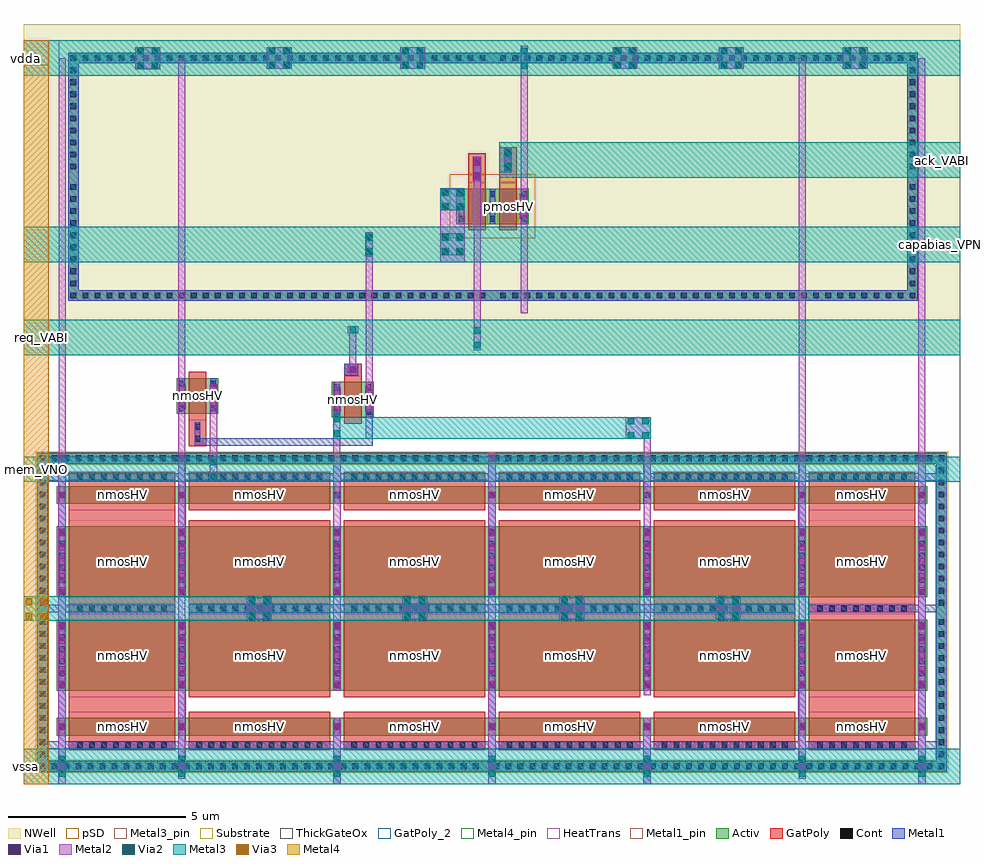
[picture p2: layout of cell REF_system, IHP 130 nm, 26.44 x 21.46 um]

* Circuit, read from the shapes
.subckt REF_system ack_VABI capabias_VPN lk_VPI mem_VNO req_VABI vdda vssa
XM1 vssa vssa vssa vssa sg13_hv_nmos w=0.5u l=3u m=4
XM2 vssa vssa vssa vssa sg13_hv_nmos w=2u l=3u m=4
XM3 vssa vssa vssa vssa sg13_hv_nmos w=0.5u l=4u m=8
XM4 n1 lk_VPI vssa vssa sg13_hv_nmos w=2u l=4u m=8
XM5 mem_VNO capabias_VPN vssa vssa sg13_hv_nmos w=1u l=0.5u
XM6 capabias_VPN req_VABI n1 vssa sg13_hv_nmos w=1u l=0.5u
XM7 n2 req_VABI capabias_VPN vdda sg13_hv_pmos w=1u l=0.5u
XM8 vdda ack_VABI n2 vdda sg13_hv_pmos w=1u l=0.5u
.ends

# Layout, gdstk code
import gdstk
lib = gdstk.Library(unit=1e-6, precision=1e-09)
def R(c, l, rs):  # rectangles x0, y0, x1, y1
    for r in rs: c.add(gdstk.rectangle(r[:2], r[2:], *l))
def A(c, l, x, y, w, h, nx, ny, dx, dy):  # array of equal rectangles
    R(c, l, [(x+i*dx, y+j*dy, x+i*dx+w, y+j*dy+h) for i in range(nx) for j in range(ny)])
def P(c, l, *ps):  # polygons
    for p in ps: c.add(gdstk.Polygon(p, *l))
Activ = (1, 0)
GatPoly = (5, 0)
GatPoly_2 = (5, 2)
Cont = (6, 0)
Metal1 = (8, 0)
Metal1_pin = (8, 2)
Metal2 = (10, 0)
pSD = (14, 0)
Via1 = (19, 0)
Via2 = (29, 0)
Metal3 = (30, 0)
Metal3_pin = (30, 2)
NWell = (31, 0)
Substrate = (40, 0)
ThickGateOx = (44, 0)
Via3 = (49, 0)
Metal4 = (50, 0)
Metal4_pin = (50, 2)
HeatTrans = (51, 0)

ref_system = lib.new_cell('REF_system')
A(ref_system, Activ, 4.31, 0.865, 0.3, 0.3, 5, 1, 4.38, 0)
A(ref_system, Activ, 0.93, 2.135, 0.3, 0.3, 1, 3, 0, 2.64)
A(ref_system, Activ, 4.31, 2.135, 0.3, 0.3, 1, 3, 0, 2.64)
A(ref_system, Activ, 4.31, 2.135, 0.3, 0.3, 3, 2, 4.38, 2.64)
A(ref_system, Activ, 13.07, 2.135, 0.3, 0.3, 3, 2, 4.38, 2.64)
A(ref_system, Activ, 21.83, 2.135, 0.3, 0.3, 1, 3, 0, 2.64)
A(ref_system, Activ, 25.21, 2.135, 0.3, 0.3, 1, 3, 0, 2.64)
R(ref_system, Activ, [(0.37,0.15,0.67,8.55), (25.77,0.15,26.07,8.55), (0.93,0.865,1.23,1.165), (0.93,0.865,4.61,1.365), (4.31,0.865,4.61,1.165), (4.31,0.865,22.13,1.365), (21.83,0.865,22.13,1.165), (21.83,0.865,25.51,1.365), (25.21,0.865,25.51,1.165), (0.93,2.135,4.61,4.135), (4.31,2.135,13.37,4.135), (13.07,2.135,22.13,4.135), (21.83,2.135,25.51,4.135), (0.93,4.775,4.61,6.775), (4.31,4.775,13.37,6.775), (13.07,4.775,22.13,6.775), (21.83,4.775,25.51,6.775), (0.93,7.415,1.23,7.715), (0.93,7.415,4.61,7.915), (0.93,7.415,4.61,7.915), (4.31,7.415,4.61,7.715), (4.31,7.415,4.61,7.715), (4.31,7.415,4.61,7.715), (4.31,7.415,22.13,7.915), (4.31,7.415,22.13,7.915), (8.69,7.415,8.99,7.715), (8.69,7.415,8.99,7.715), (13.07,7.415,13.37,7.715), (13.07,7.415,13.37,7.715), (17.45,7.415,17.75,7.715), (17.45,7.415,17.75,7.715), (21.83,7.415,22.13,7.715), (21.83,7.415,22.13,7.715), (21.83,7.415,22.13,7.715), (21.83,7.415,25.51,7.915), (21.83,7.415,25.51,7.915), (25.21,7.415,25.51,7.715), (0.37,8.55,26.07,8.85), (8.7,9.855,9.88,10.855), (4.315,9.96,4.615,10.26), (4.315,9.96,5.495,10.96), (5.195,9.96,5.495,10.26), (8.7,10.555,9,10.855), (9.58,10.555,9.88,10.855), (1.245,13.45,1.545,19.85), (24.945,13.45,25.245,19.85), (12.205,15.315,12.505,15.615), (12.205,15.315,13.385,16.315), (13.085,15.315,13.385,15.615), (13.085,15.315,13.385,15.615), (13.085,15.315,14.265,16.315), (13.965,15.315,14.265,15.615), (1.245,19.85,25.245,20.15)])
P(ref_system, Activ, [(0.37,-0.15),(0.37,8.55),(0.67,8.55),(0.67,0.15),(25.77,0.15),(25.77,8.55),(0.37,8.55),(0.37,8.85),(26.07,8.85),(26.07,-0.15)],
  [(1.245,13.15),(1.245,19.85),(1.545,19.85),(1.545,13.45),(24.945,13.45),(24.945,19.85),(1.245,19.85),(1.245,20.15),(25.245,20.15),(25.245,13.15)])
A(ref_system, GatPoly, 4.65, 0.455, 4, 0.3, 4, 1, 4.38, 0)
A(ref_system, GatPoly, 4.8, 0.455, 3.7, 0.3, 4, 2, 4.38, 3.85)
A(ref_system, GatPoly, 4.65, 0.685, 4, 0.86, 4, 1, 4.38, 0)
A(ref_system, GatPoly, 4.65, 1.955, 4, 5, 4, 1, 4.38, 0)
A(ref_system, GatPoly, 4.65, 1.955, 4, 2.36, 4, 2, 4.38, 2.64)
R(ref_system, GatPoly, [(1.27,0.455,4.27,8.325), (1.43,0.455,4.11,0.755), (22.17,0.455,25.17,8.325), (22.33,0.455,25.01,0.755), (1.27,0.685,4.27,1.545), (22.17,0.685,25.17,1.545), (1.27,1.955,4.27,4.315), (22.17,1.955,25.17,4.315), (1.43,4.305,4.11,4.605), (22.33,4.305,25.01,4.605), (1.27,4.595,4.27,6.955), (22.17,4.595,25.17,6.955), (1.27,7.235,4.27,8.095), (1.27,7.235,4.27,8.095), (4.65,7.235,8.65,8.095), (4.65,7.235,8.65,8.095), (9.03,7.235,13.03,8.095), (9.03,7.235,13.03,8.095), (13.41,7.235,17.41,8.095), (13.41,7.235,17.41,8.095), (17.79,7.235,21.79,8.095), (17.79,7.235,21.79,8.095), (22.17,7.235,25.17,8.095), (22.17,7.235,25.17,8.095), (1.43,8.025,4.11,8.325), (1.43,8.025,4.11,8.325), (4.65,8.025,8.65,8.325), (4.65,8.025,8.65,8.325), (4.8,8.025,8.5,8.325), (4.8,8.025,8.5,8.325), (9.03,8.025,13.03,8.325), (9.03,8.025,13.03,8.325), (9.18,8.025,12.88,8.325), (9.18,8.025,12.88,8.325), (13.41,8.025,17.41,8.325), (13.41,8.025,17.41,8.325), (13.56,8.025,17.26,8.325), (13.56,8.025,17.26,8.325), (17.79,8.025,21.79,8.325), (17.79,8.025,21.79,8.325), (17.94,8.025,21.64,8.325), (17.94,8.025,21.64,8.325), (22.33,8.025,25.01,8.325), (22.33,8.025,25.01,8.325), (4.655,9.035,5.155,9.955), (4.75,9.1,5.05,9.74), (9.04,9.675,9.54,11.035), (4.655,9.78,5.155,11.14), (9.04,10.965,9.54,11.375), (9.14,11.06,9.44,11.36), (12.545,15.135,13.045,16.495), (13.425,15.135,13.925,16.495), (13.425,16.21,13.92,17.485), (12.545,16.395,13.045,17.315), (12.65,16.55,12.95,17.19), (13.515,16.81,13.815,17.45)])
R(ref_system, GatPoly_2, [(1.27,0.685,4.27,1.545), (4.65,0.685,8.65,1.545), (22.17,0.685,25.17,1.545), (1.27,1.955,4.27,4.315), (4.65,1.955,8.65,4.315), (13.41,1.955,17.41,4.315), (22.17,1.955,25.17,4.315), (1.27,4.595,4.27,6.955), (4.65,4.595,8.65,6.955), (13.41,4.595,17.41,6.955), (22.17,4.595,25.17,6.955), (1.27,7.235,4.27,8.095), (1.27,7.235,4.27,8.095), (4.65,7.235,8.65,8.095), (4.65,7.235,8.65,8.095), (22.17,7.235,25.17,8.095), (22.17,7.235,25.17,8.095), (9.04,9.675,9.54,11.035), (4.655,9.78,5.155,11.14), (12.545,15.135,13.045,16.495), (13.425,15.135,13.925,16.495)])
A(ref_system, Cont, 0.44, -0.08, 0.16, 0.16, 37, 2, 0.34, 8.7)
A(ref_system, Cont, 13.26, -0.08, 0.16, 0.16, 38, 2, 0.34, 8.7)
A(ref_system, Cont, 0.44, 0.26, 0.16, 0.16, 1, 12, 0, 0.34)
A(ref_system, Cont, 25.84, 0.26, 0.16, 0.16, 1, 12, 0, 0.34)
A(ref_system, Cont, 1.5, 0.525, 0.16, 0.16, 8, 2, 0.34, 3.85)
A(ref_system, Cont, 4.87, 0.525, 0.16, 0.16, 11, 2, 0.34, 3.85)
A(ref_system, Cont, 9.25, 0.525, 0.16, 0.16, 11, 2, 0.34, 3.85)
A(ref_system, Cont, 13.63, 0.525, 0.16, 0.16, 11, 2, 0.34, 3.85)
A(ref_system, Cont, 18.01, 0.525, 0.16, 0.16, 11, 2, 0.34, 3.85)
A(ref_system, Cont, 22.4, 0.525, 0.16, 0.16, 8, 2, 0.34, 3.85)
A(ref_system, Cont, 4.38, 1.035, 0.16, 0.16, 5, 1, 4.38, 0)
A(ref_system, Cont, 1, 2.205, 0.16, 0.16, 1, 6, 0, 0.34)
A(ref_system, Cont, 4.38, 2.205, 0.16, 0.16, 1, 6, 0, 0.34)
A(ref_system, Cont, 4.38, 2.205, 0.16, 0.16, 3, 6, 4.38, 0.34)
A(ref_system, Cont, 13.14, 2.205, 0.16, 0.16, 3, 6, 4.38, 0.34)
A(ref_system, Cont, 21.9, 2.205, 0.16, 0.16, 1, 6, 0, 0.34)
A(ref_system, Cont, 25.28, 2.205, 0.16, 0.16, 1, 6, 0, 0.34)
A(ref_system, Cont, 0.44, 4.54, 0.16, 0.16, 1, 12, 0, 0.34)
A(ref_system, Cont, 25.84, 4.54, 0.16, 0.16, 1, 12, 0, 0.34)
A(ref_system, Cont, 1, 4.845, 0.16, 0.16, 1, 6, 0, 0.34)
A(ref_system, Cont, 4.38, 4.845, 0.16, 0.16, 1, 6, 0, 0.34)
A(ref_system, Cont, 4.38, 4.845, 0.16, 0.16, 3, 6, 4.38, 0.34)
A(ref_system, Cont, 13.14, 4.845, 0.16, 0.16, 3, 6, 4.38, 0.34)
A(ref_system, Cont, 21.9, 4.845, 0.16, 0.16, 1, 6, 0, 0.34)
A(ref_system, Cont, 25.28, 4.845, 0.16, 0.16, 1, 6, 0, 0.34)
A(ref_system, Cont, 8.77, 9.925, 0.16, 0.16, 1, 3, 0, 0.35)
A(ref_system, Cont, 9.65, 9.925, 0.16, 0.16, 1, 3, 0, 0.35)
A(ref_system, Cont, 4.385, 10.03, 0.16, 0.16, 1, 3, 0, 0.35)
A(ref_system, Cont, 5.265, 10.03, 0.16, 0.16, 1, 3, 0, 0.35)
A(ref_system, Cont, 1.315, 13.22, 0.16, 0.16, 35, 2, 0.34, 6.7)
A(ref_system, Cont, 13.455, 13.22, 0.16, 0.16, 35, 2, 0.34, 6.7)
A(ref_system, Cont, 1.315, 13.56, 0.16, 0.16, 1, 9, 0, 0.34)
A(ref_system, Cont, 25.015, 13.56, 0.16, 0.16, 1, 9, 0, 0.34)
A(ref_system, Cont, 12.275, 15.385, 0.16, 0.16, 1, 3, 0, 0.35)
A(ref_system, Cont, 14.035, 15.385, 0.16, 0.16, 1, 3, 0, 0.35)
A(ref_system, Cont, 1.315, 16.86, 0.16, 0.16, 1, 9, 0, 0.34)
A(ref_system, Cont, 25.015, 16.86, 0.16, 0.16, 1, 9, 0, 0.34)
R(ref_system, Cont, [(1,1.035,1.16,1.195), (4.38,1.035,4.54,1.195), (21.9,1.035,22.06,1.195), (25.28,1.035,25.44,1.195), (1,7.585,1.16,7.745), (1,7.585,1.16,7.745), (4.38,7.585,4.54,7.745), (4.38,7.585,4.54,7.745), (4.38,7.585,4.54,7.745), (4.38,7.585,4.54,7.745), (8.76,7.585,8.92,7.745), (8.76,7.585,8.92,7.745), (13.14,7.585,13.3,7.745), (13.14,7.585,13.3,7.745), (17.52,7.585,17.68,7.745), (17.52,7.585,17.68,7.745), (21.9,7.585,22.06,7.745), (21.9,7.585,22.06,7.745), (21.9,7.585,22.06,7.745), (21.9,7.585,22.06,7.745), (25.28,7.585,25.44,7.745), (25.28,7.585,25.44,7.745), (1.5,8.095,1.66,8.255), (1.5,8.095,1.66,8.255), (1.84,8.095,2,8.255), (1.84,8.095,2,8.255), (2.18,8.095,2.34,8.255), (2.18,8.095,2.34,8.255), (2.52,8.095,2.68,8.255), (2.52,8.095,2.68,8.255), (2.86,8.095,3.02,8.255), (2.86,8.095,3.02,8.255), (3.2,8.095,3.36,8.255), (3.2,8.095,3.36,8.255), (3.54,8.095,3.7,8.255), (3.54,8.095,3.7,8.255), (3.88,8.095,4.04,8.255), (3.88,8.095,4.04,8.255), (4.87,8.095,5.03,8.255), (4.87,8.095,5.03,8.255), (5.21,8.095,5.37,8.255), (5.21,8.095,5.37,8.255), (5.55,8.095,5.71,8.255), (5.55,8.095,5.71,8.255), (5.89,8.095,6.05,8.255), (5.89,8.095,6.05,8.255), (6.23,8.095,6.39,8.255), (6.23,8.095,6.39,8.255), (6.57,8.095,6.73,8.255), (6.57,8.095,6.73,8.255), (6.91,8.095,7.07,8.255), (6.91,8.095,7.07,8.255), (7.25,8.095,7.41,8.255), (7.25,8.095,7.41,8.255), (7.59,8.095,7.75,8.255), (7.59,8.095,7.75,8.255), (7.93,8.095,8.09,8.255), (7.93,8.095,8.09,8.255), (8.27,8.095,8.43,8.255), (8.27,8.095,8.43,8.255), (9.25,8.095,9.41,8.255), (9.25,8.095,9.41,8.255), (9.59,8.095,9.75,8.255), (9.59,8.095,9.75,8.255), (9.93,8.095,10.09,8.255), (9.93,8.095,10.09,8.255), (10.27,8.095,10.43,8.255), (10.27,8.095,10.43,8.255), (10.61,8.095,10.77,8.255), (10.61,8.095,10.77,8.255), (10.95,8.095,11.11,8.255), (10.95,8.095,11.11,8.255), (11.29,8.095,11.45,8.255), (11.29,8.095,11.45,8.255), (11.63,8.095,11.79,8.255), (11.63,8.095,11.79,8.255), (11.97,8.095,12.13,8.255), (11.97,8.095,12.13,8.255), (12.31,8.095,12.47,8.255), (12.31,8.095,12.47,8.255), (12.65,8.095,12.81,8.255), (12.65,8.095,12.81,8.255), (13.63,8.095,13.79,8.255), (13.63,8.095,13.79,8.255), (13.97,8.095,14.13,8.255), (13.97,8.095,14.13,8.255), (14.31,8.095,14.47,8.255), (14.31,8.095,14.47,8.255), (14.65,8.095,14.81,8.255), (14.65,8.095,14.81,8.255), (14.99,8.095,15.15,8.255), (14.99,8.095,15.15,8.255), (15.33,8.095,15.49,8.255), (15.33,8.095,15.49,8.255), (15.67,8.095,15.83,8.255), (15.67,8.095,15.83,8.255), (16.01,8.095,16.17,8.255), (16.01,8.095,16.17,8.255), (16.35,8.095,16.51,8.255), (16.35,8.095,16.51,8.255), (16.69,8.095,16.85,8.255), (16.69,8.095,16.85,8.255), (17.03,8.095,17.19,8.255), (17.03,8.095,17.19,8.255), (18.01,8.095,18.17,8.255), (18.01,8.095,18.17,8.255), (18.35,8.095,18.51,8.255), (18.35,8.095,18.51,8.255), (18.69,8.095,18.85,8.255), (18.69,8.095,18.85,8.255), (19.03,8.095,19.19,8.255), (19.03,8.095,19.19,8.255), (19.37,8.095,19.53,8.255), (19.37,8.095,19.53,8.255), (19.71,8.095,19.87,8.255), (19.71,8.095,19.87,8.255), (20.05,8.095,20.21,8.255), (20.05,8.095,20.21,8.255), (20.39,8.095,20.55,8.255), (20.39,8.095,20.55,8.255), (20.73,8.095,20.89,8.255), (20.73,8.095,20.89,8.255), (21.07,8.095,21.23,8.255), (21.07,8.095,21.23,8.255), (21.41,8.095,21.57,8.255), (21.41,8.095,21.57,8.255), (22.4,8.095,22.56,8.255), (22.4,8.095,22.56,8.255), (22.74,8.095,22.9,8.255), (22.74,8.095,22.9,8.255), (23.08,8.095,23.24,8.255), (23.08,8.095,23.24,8.255), (23.42,8.095,23.58,8.255), (23.42,8.095,23.58,8.255), (23.76,8.095,23.92,8.255), (23.76,8.095,23.92,8.255), (24.1,8.095,24.26,8.255), (24.1,8.095,24.26,8.255), (24.44,8.095,24.6,8.255), (24.44,8.095,24.6,8.255), (24.78,8.095,24.94,8.255), (24.78,8.095,24.94,8.255), (4.82,9.17,4.98,9.33), (4.82,9.51,4.98,9.67), (9.21,11.13,9.37,11.29), (13.155,15.385,13.315,15.545), (13.155,15.385,13.315,15.545), (13.155,15.735,13.315,15.895), (13.155,15.735,13.315,15.895), (13.155,16.085,13.315,16.245), (13.155,16.085,13.315,16.245), (12.72,16.62,12.88,16.78), (13.585,16.88,13.745,17.04), (12.72,16.96,12.88,17.12), (13.585,17.22,13.745,17.38)])
A(ref_system, Metal1, 4.355, -0.145, 0.21, 0.29, 5, 2, 4.38, 1.115)
A(ref_system, Metal1, 4.82, 0.525, 3.66, 0.16, 4, 2, 4.38, 3.85)
A(ref_system, Metal1, 4.355, 0.865, 0.21, 0.5, 5, 1, 4.38, 0)
A(ref_system, Metal1, 4.38, 0.865, 0.16, 0.5, 5, 1, 4.38, 0)
A(ref_system, Metal1, 4.355, 2.135, 0.21, 2, 5, 2, 4.38, 2.64)
A(ref_system, Metal1, 4.38, 2.135, 0.16, 2, 3, 2, 4.38, 2.64)
A(ref_system, Metal1, 13.14, 2.135, 0.16, 2, 3, 2, 4.38, 2.64)
A(ref_system, Metal1, 4.355, 2.17, 0.21, 1.93, 5, 2, 4.38, 2.64)
R(ref_system, Metal1, [(0.37,-0.15,26.07,0.15), (0.975,-0.145,1.185,0.145), (25.255,-0.145,25.465,0.145), (0.37,0.15,0.67,8.55), (25.77,0.15,26.07,8.55), (1.45,0.525,4.09,0.685), (22.35,0.525,24.99,0.685), (0.975,0.865,1.185,1.365), (1,0.865,1.16,1.365), (4.38,0.865,4.54,1.365), (21.9,0.865,22.06,1.365), (25.255,0.865,25.465,1.365), (25.28,0.865,25.44,1.365), (0.975,0.97,1.185,1.26), (25.255,0.97,25.465,1.26), (0.975,2.135,1.185,4.135), (1,2.135,1.16,4.135), (4.38,2.135,4.54,4.135), (21.9,2.135,22.06,4.135), (25.255,2.135,25.465,4.135), (25.28,2.135,25.44,4.135), (0.975,2.17,1.185,4.1), (25.255,2.17,25.465,4.1), (10.685,4.34,11.385,4.55), (15.12,4.34,15.82,4.55), (19.54,4.34,20.24,4.55), (6.3,4.35,7,4.56), (1.45,4.375,4.09,4.535), (22.35,4.375,24.99,4.535), (0.975,4.775,1.185,6.775), (1,4.775,1.16,6.775), (4.38,4.775,4.54,6.775), (21.9,4.775,22.06,6.775), (25.255,4.775,25.465,6.775), (25.28,4.775,25.44,6.775), (0.975,4.81,1.185,6.74), (25.255,4.81,25.465,6.74), (0.975,7.415,1.185,7.915), (0.975,7.415,1.185,7.915), (1,7.415,1.16,7.915), (1,7.415,1.16,7.915), (4.355,7.415,4.565,7.915), (4.355,7.415,4.565,7.915), (4.38,7.415,4.54,7.915), (4.38,7.415,4.54,7.915), (4.38,7.415,4.54,7.915), (4.38,7.415,4.54,7.915), (8.74,7.415,8.95,7.915), (8.74,7.415,8.95,7.915), (8.76,7.415,8.92,7.915), (8.76,7.415,8.92,7.915), (13.115,7.415,13.325,7.915), (13.115,7.415,13.325,7.915), (13.14,7.415,13.3,7.915), (13.14,7.415,13.3,7.915), (17.495,7.415,17.705,7.915), (17.495,7.415,17.705,7.915), (17.52,7.415,17.68,7.915), (17.52,7.415,17.68,7.915), (21.875,7.415,22.085,7.915), (21.875,7.415,22.085,7.915), (21.9,7.415,22.06,7.915), (21.9,7.415,22.06,7.915), (21.9,7.415,22.06,7.915), (21.9,7.415,22.06,7.915), (25.255,7.415,25.465,7.915), (25.255,7.415,25.465,7.915), (25.28,7.415,25.44,7.915), (25.28,7.415,25.44,7.915), (0.975,7.52,1.185,7.81), (0.975,7.52,1.185,7.81), (4.355,7.52,4.565,7.81), (4.355,7.52,4.565,7.81), (13.115,7.52,13.325,7.81), (13.115,7.52,13.325,7.81), (21.875,7.52,22.085,7.81), (21.875,7.52,22.085,7.81), (25.255,7.52,25.465,7.81), (25.255,7.52,25.465,7.81), (1.27,8.07,4.27,8.28), (1.27,8.07,4.27,8.28), (22.17,8.07,25.17,8.28), (22.17,8.07,25.17,8.28), (1.45,8.095,4.09,8.255), (1.45,8.095,4.09,8.255), (4.82,8.095,8.48,8.255), (4.82,8.095,8.48,8.255), (9.2,8.095,12.86,8.255), (9.2,8.095,12.86,8.255), (13.58,8.095,17.24,8.255), (13.58,8.095,17.24,8.255), (17.96,8.095,21.62,8.255), (17.96,8.095,21.62,8.255), (22.35,8.095,24.99,8.255), (22.35,8.095,24.99,8.255), (0.37,8.55,26.07,8.85), (0.975,8.555,1.185,8.845), (0.975,8.555,1.185,8.845), (4.355,8.555,4.565,8.845), (4.355,8.555,4.565,8.845), (13.115,8.555,13.325,8.845), (13.115,8.555,13.325,8.845), (21.875,8.555,22.085,8.845), (21.875,8.555,22.085,8.845), (25.255,8.555,25.465,8.845), (25.255,8.555,25.465,8.845), (4.82,9.12,4.98,9.72), (8.77,9.855,8.93,10.855), (9.65,9.855,9.81,10.855), (4.385,9.96,4.545,10.96), (5.265,9.96,5.425,10.96), (8.74,10.005,8.95,10.705), (9.645,10.02,9.855,10.72), (4.36,10.09,4.57,10.79), (5.25,10.09,5.46,10.79), (9.04,11.035,9.44,11.375), (9.145,11.105,9.435,11.315), (1.245,13.15,25.245,13.45), (1.245,13.45,1.545,19.85), (24.945,13.45,25.245,19.85), (9.645,14.39,9.855,15.09), (11.755,14.43,12.455,15.05), (12.275,15.315,12.435,16.315), (13.155,15.315,13.315,16.315), (13.155,15.315,13.315,16.315), (14.035,15.315,14.195,16.315), (14.01,15.465,14.22,16.165), (11.755,15.7,12.455,16.32), (12.695,16.52,12.905,17.22), (13.56,16.78,13.77,17.48), (3.15,19.69,3.85,20.31), (6.865,19.695,7.565,20.315), (10.63,19.695,11.33,20.315), (16.625,19.695,17.325,20.315), (16.625,19.695,17.325,20.315), (19.625,19.695,20.325,20.315), (23.13,19.695,23.83,20.315), (1.245,19.85,25.245,20.15)])
A(ref_system, Metal1_pin, 4.38, 2.135, 0.16, 2, 5, 2, 4.38, 2.64)
R(ref_system, Metal1_pin, [(1,0.865,1.16,1.365), (4.38,0.865,4.54,1.365), (4.38,0.865,4.54,1.365), (8.76,0.865,8.92,1.365), (21.9,0.865,22.06,1.365), (25.28,0.865,25.44,1.365), (1,2.135,1.16,4.135), (4.38,2.135,4.54,4.135), (25.28,2.135,25.44,4.135), (1,4.775,1.16,6.775), (4.38,4.775,4.54,6.775), (25.28,4.775,25.44,6.775), (1,7.415,1.16,7.915), (1,7.415,1.16,7.915), (4.38,7.415,4.54,7.915), (4.38,7.415,4.54,7.915), (4.38,7.415,4.54,7.915), (4.38,7.415,4.54,7.915), (8.76,7.415,8.92,7.915), (8.76,7.415,8.92,7.915), (21.9,7.415,22.06,7.915), (21.9,7.415,22.06,7.915), (25.28,7.415,25.44,7.915), (25.28,7.415,25.44,7.915), (8.77,9.855,8.93,10.855), (9.65,9.855,9.81,10.855), (4.385,9.96,4.545,10.96), (5.265,9.96,5.425,10.96), (12.275,15.315,12.435,16.315), (13.155,15.315,13.315,16.315), (13.155,15.315,13.315,16.315), (14.035,15.315,14.195,16.315)])
A(ref_system, Metal2, 4.36, -0.35, 0.2, 0.7, 5, 1, 4.38, 0)
A(ref_system, Metal2, 4.36, -0.145, 0.2, 0.29, 5, 2, 4.38, 1.115)
A(ref_system, Metal2, 4.36, 2.17, 0.2, 1.93, 5, 2, 4.38, 2.64)
R(ref_system, Metal2, [(0.98,-0.35,1.18,0.35), (25.26,-0.35,25.46,0.35), (0.98,-0.145,1.18,0.145), (25.26,-0.145,25.46,0.145), (0.98,0.97,1.18,1.26), (25.26,0.97,25.46,1.26), (0.98,2.17,1.18,4.1), (25.26,2.17,25.46,4.1), (6.3,4.15,7,4.76), (6.3,4.15,7,4.76), (10.685,4.15,11.385,4.76), (15.12,4.15,15.82,4.76), (19.54,4.15,20.24,4.76), (10.685,4.345,11.385,4.545), (15.12,4.345,15.82,4.545), (19.54,4.345,20.24,4.545), (6.3,4.355,7,4.555), (0.98,4.81,1.18,6.74), (25.26,4.81,25.46,6.74), (0.98,7.52,1.18,7.81), (0.98,7.52,1.18,7.81), (4.36,7.52,4.56,7.81), (4.36,7.52,4.56,7.81), (13.12,7.52,13.32,7.81), (13.12,7.52,13.32,7.81), (21.88,7.52,22.08,7.81), (21.88,7.52,22.08,7.81), (25.26,7.52,25.46,7.81), (25.26,7.52,25.46,7.81), (5.265,8.04,5.465,8.74), (0.98,8.555,1.18,8.845), (0.98,8.555,1.18,8.845), (4.36,8.555,4.56,8.845), (4.36,8.555,4.56,8.845), (13.12,8.555,13.32,8.845), (13.12,8.555,13.32,8.845), (21.88,8.555,22.08,8.845), (21.88,8.555,22.08,8.845), (25.26,8.555,25.46,8.845), (25.26,8.555,25.46,8.845), (17,9.245,17.7,9.855), (8.74,9.255,8.94,9.955), (8.745,10.005,8.945,10.705), (9.65,10.02,9.85,10.72), (4.365,10.09,4.565,10.79), (5.255,10.09,5.455,10.79), (9.145,11.11,9.435,11.31), (12.705,11.755,12.905,12.455), (9.15,12.23,9.44,12.43), (9.65,14.39,9.85,15.09), (11.755,14.435,12.455,15.045), (14.015,15.465,14.215,16.165), (11.755,15.705,12.455,16.315), (12.7,16.52,12.9,17.22), (13.425,16.78,13.775,17.485), (13.565,16.78,13.765,17.48), (14.025,19.65,14.225,20.35), (3.15,19.695,3.85,20.305), (6.865,19.7,7.565,20.31), (10.63,19.7,11.33,20.31), (16.625,19.7,17.325,20.31), (16.625,19.7,17.325,20.31), (19.625,19.7,20.325,20.31), (23.13,19.7,23.83,20.31)])
R(ref_system, pSD, [(0.34,0.18,0.7,8.52), (25.74,0.18,26.1,8.52), (0.34,8.52,26.1,8.88), (12.025,14.915,13.565,16.715), (12.905,14.915,14.445,16.715)])
P(ref_system, pSD, [(0.34,-0.18),(0.34,8.52),(0.7,8.52),(0.7,0.18),(25.74,0.18),(25.74,8.52),(0.34,8.52),(0.34,8.88),(26.1,8.88),(26.1,-0.18)])
A(ref_system, Via1, 4.365, -0.095, 0.19, 0.19, 5, 2, 4.38, 1.115)
A(ref_system, Via1, 0.985, 2.22, 0.19, 0.19, 1, 5, 0, 0.41)
A(ref_system, Via1, 4.365, 2.22, 0.19, 0.19, 5, 5, 4.38, 0.41)
A(ref_system, Via1, 25.265, 2.22, 0.19, 0.19, 1, 5, 0, 0.41)
A(ref_system, Via1, 0.985, 4.86, 0.19, 0.19, 1, 5, 0, 0.41)
A(ref_system, Via1, 4.365, 4.86, 0.19, 0.19, 5, 5, 4.38, 0.41)
A(ref_system, Via1, 25.265, 4.86, 0.19, 0.19, 1, 5, 0, 0.41)
R(ref_system, Via1, [(0.985,-0.095,1.175,0.095), (25.265,-0.095,25.455,0.095), (0.985,1.02,1.175,1.21), (25.265,1.02,25.455,1.21), (10.735,4.35,10.925,4.54), (11.145,4.35,11.335,4.54), (15.17,4.35,15.36,4.54), (15.58,4.35,15.77,4.54), (19.59,4.35,19.78,4.54), (20,4.35,20.19,4.54), (6.35,4.36,6.54,4.55), (6.76,4.36,6.95,4.55), (0.985,7.57,1.175,7.76), (0.985,7.57,1.175,7.76), (4.365,7.57,4.555,7.76), (4.365,7.57,4.555,7.76), (13.125,7.57,13.315,7.76), (13.125,7.57,13.315,7.76), (21.885,7.57,22.075,7.76), (21.885,7.57,22.075,7.76), (25.265,7.57,25.455,7.76), (25.265,7.57,25.455,7.76), (0.985,8.605,1.175,8.795), (0.985,8.605,1.175,8.795), (4.365,8.605,4.555,8.795), (4.365,8.605,4.555,8.795), (13.125,8.605,13.315,8.795), (13.125,8.605,13.315,8.795), (21.885,8.605,22.075,8.795), (21.885,8.605,22.075,8.795), (25.265,8.605,25.455,8.795), (25.265,8.605,25.455,8.795), (8.75,10.055,8.94,10.245), (9.655,10.07,9.845,10.26), (4.37,10.14,4.56,10.33), (5.26,10.14,5.45,10.33), (8.75,10.465,8.94,10.655), (9.655,10.48,9.845,10.67), (4.37,10.55,4.56,10.74), (5.26,10.55,5.45,10.74), (9.195,11.115,9.385,11.305), (9.655,14.44,9.845,14.63), (11.805,14.44,11.995,14.63), (12.215,14.44,12.405,14.63), (9.655,14.85,9.845,15.04), (11.805,14.85,11.995,15.04), (12.215,14.85,12.405,15.04), (14.02,15.515,14.21,15.705), (11.805,15.71,11.995,15.9), (12.215,15.71,12.405,15.9), (14.02,15.925,14.21,16.115), (11.805,16.12,11.995,16.31), (12.215,16.12,12.405,16.31), (12.705,16.57,12.895,16.76), (13.57,16.83,13.76,17.02), (12.705,16.98,12.895,17.17), (13.57,17.24,13.76,17.43), (3.2,19.7,3.39,19.89), (3.61,19.7,3.8,19.89), (6.915,19.705,7.105,19.895), (7.325,19.705,7.515,19.895), (10.68,19.705,10.87,19.895), (11.09,19.705,11.28,19.895), (16.675,19.705,16.865,19.895), (16.675,19.705,16.865,19.895), (17.085,19.705,17.275,19.895), (17.085,19.705,17.275,19.895), (19.675,19.705,19.865,19.895), (20.085,19.705,20.275,19.895), (23.18,19.705,23.37,19.895), (23.59,19.705,23.78,19.895), (3.2,20.11,3.39,20.3), (3.61,20.11,3.8,20.3), (6.915,20.115,7.105,20.305), (7.325,20.115,7.515,20.305), (10.68,20.115,10.87,20.305), (11.09,20.115,11.28,20.305), (16.675,20.115,16.865,20.305), (16.675,20.115,16.865,20.305), (17.085,20.115,17.275,20.305), (17.085,20.115,17.275,20.305), (19.675,20.115,19.865,20.305), (20.085,20.115,20.275,20.305), (23.18,20.115,23.37,20.305), (23.59,20.115,23.78,20.305)])
A(ref_system, Via2, 4.365, -0.3, 0.19, 0.19, 5, 2, 4.38, 0.41)
R(ref_system, Via2, [(0.985,-0.3,1.175,-0.11), (25.265,-0.3,25.455,-0.11), (0.985,0.11,1.175,0.3), (25.265,0.11,25.455,0.3), (6.35,4.155,6.54,4.345), (6.35,4.155,6.54,4.345), (6.76,4.155,6.95,4.345), (6.76,4.155,6.95,4.345), (10.735,4.155,10.925,4.345), (11.145,4.155,11.335,4.345), (15.17,4.155,15.36,4.345), (15.58,4.155,15.77,4.345), (19.59,4.155,19.78,4.345), (20,4.155,20.19,4.345), (6.35,4.565,6.54,4.755), (6.35,4.565,6.54,4.755), (6.76,4.565,6.95,4.755), (6.76,4.565,6.95,4.755), (10.735,4.565,10.925,4.755), (11.145,4.565,11.335,4.755), (15.17,4.565,15.36,4.755), (15.58,4.565,15.77,4.755), (19.59,4.565,19.78,4.755), (20,4.565,20.19,4.755), (5.27,8.09,5.46,8.28), (5.27,8.5,5.46,8.69), (17.05,9.25,17.24,9.44), (17.46,9.25,17.65,9.44), (8.745,9.305,8.935,9.495), (17.05,9.66,17.24,9.85), (17.46,9.66,17.65,9.85), (8.745,9.715,8.935,9.905), (12.71,11.805,12.9,11.995), (12.71,12.215,12.9,12.405), (9.2,12.235,9.39,12.425), (9.655,14.44,9.845,14.63), (11.805,14.44,11.995,14.63), (12.215,14.44,12.405,14.63), (9.655,14.85,9.845,15.04), (11.805,14.85,11.995,15.04), (12.215,14.85,12.405,15.04), (11.805,15.71,11.995,15.9), (12.215,15.71,12.405,15.9), (11.805,16.12,11.995,16.31), (12.215,16.12,12.405,16.31), (13.57,16.83,13.76,17.02), (13.57,17.24,13.76,17.43), (3.2,19.7,3.39,19.89), (3.61,19.7,3.8,19.89), (14.03,19.7,14.22,19.89), (6.915,19.705,7.105,19.895), (7.325,19.705,7.515,19.895), (10.68,19.705,10.87,19.895), (11.09,19.705,11.28,19.895), (16.675,19.705,16.865,19.895), (16.675,19.705,16.865,19.895), (17.085,19.705,17.275,19.895), (17.085,19.705,17.275,19.895), (19.675,19.705,19.865,19.895), (20.085,19.705,20.275,19.895), (23.18,19.705,23.37,19.895), (23.59,19.705,23.78,19.895), (3.2,20.11,3.39,20.3), (3.61,20.11,3.8,20.3), (14.03,20.11,14.22,20.3), (6.915,20.115,7.105,20.305), (7.325,20.115,7.515,20.305), (10.68,20.115,10.87,20.305), (11.09,20.115,11.28,20.305), (16.675,20.115,16.865,20.305), (16.675,20.115,16.865,20.305), (17.085,20.115,17.275,20.305), (17.085,20.115,17.275,20.305), (19.675,20.115,19.865,20.305), (20.085,20.115,20.275,20.305), (23.18,20.115,23.37,20.305), (23.59,20.115,23.78,20.305)])
A(ref_system, Metal3, 4.36, -0.35, 0.2, 0.7, 5, 1, 4.38, 0)
R(ref_system, Metal3, [(0.98,-0.35,1.18,0.35), (25.26,-0.35,25.46,0.35), (0,4.14,0.7,4.75), (6.3,4.15,7,4.76), (6.3,4.15,7,4.76), (10.685,4.15,11.385,4.76), (15.12,4.15,15.82,4.76), (19.54,4.15,20.24,4.76), (5.265,8.04,5.465,8.74), (17,9.245,17.7,9.855), (8.74,9.255,8.94,9.955), (12.705,11.755,12.905,12.455), (9.15,12.23,9.44,12.43), (9.65,14.39,9.85,15.09), (11.755,14.435,12.455,15.045), (11.755,15.705,12.455,16.315), (13.565,16.78,13.765,17.48), (14.025,19.65,14.225,20.35), (3.15,19.695,3.85,20.305), (6.865,19.7,7.565,20.31), (10.63,19.7,11.33,20.31), (16.625,19.7,17.325,20.31), (16.625,19.7,17.325,20.31), (19.625,19.7,20.325,20.31), (23.13,19.7,23.83,20.31)])
R(ref_system, Metal3_pin, [(0,-0.5,1,0.5), (0,8.04,0.7,8.74), (0,11.605,1,12.605), (25.44,14.24,26.44,15.24), (25.44,16.62,26.44,17.62), (0,19.5,1,20.5)])
R(ref_system, NWell, [(0,11.605,26.44,20.965), (0.895,12.8,25.595,20.5), (11.585,14.695,14.005,16.935), (12.465,14.695,14.885,16.935)])
R(ref_system, Substrate, [(0.34,0.18,0.7,8.52), (25.74,0.18,26.1,8.52), (0.34,8.52,26.1,8.88), (13.085,15.315,13.385,15.615), (13.965,15.315,14.265,15.615)])
P(ref_system, Substrate, [(0.34,-0.18),(0.34,8.52),(0.7,8.52),(0.7,0.18),(25.74,0.18),(25.74,8.52),(0.34,8.52),(0.34,8.88),(26.1,8.88),(26.1,-0.18)])
R(ref_system, ThickGateOx, [(0,-0.5,26.44,20.5), (0.66,0.345,4.88,1.885), (4.04,0.345,22.4,1.885), (21.56,0.345,25.78,1.885), (0.66,1.615,4.88,4.655), (4.04,1.615,13.64,4.655), (12.8,1.615,22.4,4.655), (21.56,1.615,25.78,4.655), (0.66,4.255,4.88,7.295), (4.04,4.255,13.64,7.295), (12.8,4.255,22.4,7.295), (21.56,4.255,25.78,7.295), (0.66,6.895,4.88,8.435), (0.66,6.895,4.88,8.435), (4.04,6.895,22.4,8.435), (4.04,6.895,22.4,8.435), (21.56,6.895,25.78,8.435), (21.56,6.895,25.78,8.435), (8.43,9.335,10.15,11.375), (4.045,9.44,5.765,11.48), (11.585,14.695,14.005,16.935), (12.465,14.695,14.885,16.935)])
R(ref_system, Via3, [(0.05,4.145,0.24,4.335), (0.46,4.145,0.65,4.335), (0.05,4.555,0.24,4.745), (0.46,4.555,0.65,4.745)])
R(ref_system, Metal4, [(0,4.14,0.7,4.75)])
R(ref_system, Metal4_pin, [(0,19.8,0.7,20.5)])
A(ref_system, HeatTrans, 4.65, 0.685, 4, 0.86, 4, 1, 4.38, 0)
A(ref_system, HeatTrans, 4.65, 1.955, 4, 2.36, 4, 2, 4.38, 2.64)
R(ref_system, HeatTrans, [(1.27,0.685,4.27,1.545), (22.17,0.685,25.17,1.545), (1.27,1.955,4.27,4.315), (22.17,1.955,25.17,4.315), (1.27,4.595,4.27,6.955), (22.17,4.595,25.17,6.955), (1.27,7.235,4.27,8.095), (1.27,7.235,4.27,8.095), (4.65,7.235,8.65,8.095), (4.65,7.235,8.65,8.095), (9.03,7.235,13.03,8.095), (9.03,7.235,13.03,8.095), (13.41,7.235,17.41,8.095), (13.41,7.235,17.41,8.095), (17.79,7.235,21.79,8.095), (17.79,7.235,21.79,8.095), (22.17,7.235,25.17,8.095), (22.17,7.235,25.17,8.095), (9.04,9.675,9.54,11.035), (4.655,9.78,5.155,11.14), (12.545,15.135,13.045,16.495), (13.425,15.135,13.925,16.495)])
ref_system.add(gdstk.FlexPath([(4.82,9.16),(9.75,9.16),(9.75,10.855)], 0.2, ends="flush", simple_path=True, layer=8, datatype=0))  # Metal1
ref_system.add(gdstk.FlexPath([(1.08,8.85),(1.08,-0.15)], 0.21, ends="flush", simple_path=True, layer=8, datatype=0))  # Metal1
ref_system.add(gdstk.FlexPath([(1.08,2.04),(1.08,0)], 0.21, ends="flush", simple_path=True, layer=8, datatype=0))  # Metal1
ref_system.add(gdstk.FlexPath([(25.36,2.04),(25.36,0)], 0.21, ends="flush", simple_path=True, layer=8, datatype=0))  # Metal1
ref_system.add(gdstk.FlexPath([(25.36,-0.15),(25.36,8.85)], 0.21, ends="flush", simple_path=True, layer=8, datatype=0))  # Metal1
ref_system.add(gdstk.FlexPath([(13.22,8.85),(13.22,4.775)], 0.21, ends="flush", simple_path=True, layer=8, datatype=0))  # Metal1
ref_system.add(gdstk.FlexPath([(4.46,4.135),(4.46,0)], 0.21, ends="flush", simple_path=True, layer=8, datatype=0))  # Metal1
ref_system.add(gdstk.FlexPath([(21.98,4.135),(21.98,0)], 0.21, ends="flush", simple_path=True, layer=8, datatype=0))  # Metal1
ref_system.add(gdstk.FlexPath([(21.98,8.85),(21.98,4.775)], 0.21, ends="flush", simple_path=True, layer=8, datatype=0))  # Metal1
ref_system.add(gdstk.FlexPath([(13.22,4.135),(13.22,0)], 0.21, ends="flush", simple_path=True, layer=8, datatype=0))  # Metal1
ref_system.add(gdstk.FlexPath([(4.65,4.455),(21.79,4.455)], 0.24, ends="flush", simple_path=True, layer=8, datatype=0))  # Metal1
ref_system.add(gdstk.FlexPath([(9.03,4.455),(13.03,4.455)], 0.24, ends="flush", simple_path=True, layer=8, datatype=0))  # Metal1
ref_system.add(gdstk.FlexPath([(13.41,4.455),(17.41,4.455)], 0.24, ends="flush", simple_path=True, layer=8, datatype=0))  # Metal1
ref_system.add(gdstk.FlexPath([(17.79,4.455),(21.79,4.455)], 0.24, ends="flush", simple_path=True, layer=8, datatype=0))  # Metal1
ref_system.add(gdstk.FlexPath([(8.84,1.365),(8.84,-0.5)], 0.21, ends="flush", simple_path=True, layer=8, datatype=0))  # Metal1
ref_system.add(gdstk.FlexPath([(17.6,1.365),(17.6,-0.5)], 0.21, ends="flush", simple_path=True, layer=8, datatype=0))  # Metal1
ref_system.add(gdstk.FlexPath([(8.845,8.85),(8.845,7.415)], 0.21, ends="flush", simple_path=True, layer=8, datatype=0))  # Metal1
ref_system.add(gdstk.FlexPath([(17.6,8.85),(17.6,7.415)], 0.21, ends="flush", simple_path=True, layer=8, datatype=0))  # Metal1
ref_system.add(gdstk.FlexPath([(4.46,8.85),(4.46,4.775)], 0.21, ends="flush", simple_path=True, layer=8, datatype=0))  # Metal1
ref_system.add(gdstk.FlexPath([(4.27,4.455),(0.38,4.455)], 0.21, ends="flush", simple_path=True, layer=8, datatype=0))  # Metal1
ref_system.add(gdstk.FlexPath([(0.38,8.175),(26.06,8.175)], 0.21, ends="flush", simple_path=True, layer=8, datatype=0))  # Metal1
ref_system.add(gdstk.FlexPath([(22.17,4.455),(26.06,4.455),(26.06,4.455)], 0.21, ends="flush", simple_path=True, layer=8, datatype=0))  # Metal1
ref_system.add(gdstk.FlexPath([(0.38,0.605),(26.06,0.605)], 0.21, ends="flush", simple_path=True, layer=8, datatype=0))  # Metal1
ref_system.add(gdstk.FlexPath([(0.38,8.175),(26.06,8.175)], 0.21, ends="flush", simple_path=True, layer=8, datatype=0))  # Metal1
ref_system.add(gdstk.FlexPath([(17.6,8.85),(17.6,7.415)], 0.21, ends="flush", simple_path=True, layer=8, datatype=0))  # Metal1
ref_system.add(gdstk.FlexPath([(8.845,8.85),(8.845,7.415)], 0.21, ends="flush", simple_path=True, layer=8, datatype=0))  # Metal1
ref_system.add(gdstk.FlexPath([(17.6,2),(17.6,9.855)], 0.2, ends="flush", simple_path=True, layer=10, datatype=0))  # Metal2
ref_system.add(gdstk.FlexPath([(12.105,16.315),(12.105,14.24)], 0.7, ends="flush", simple_path=True, layer=10, datatype=0))  # Metal2
ref_system.add(gdstk.FlexPath([(14.125,20.35),(14.125,12.8)], 0.2, ends="flush", simple_path=True, layer=10, datatype=0))  # Metal2
ref_system.add(gdstk.FlexPath([(1.08,8.845),(1.08,19.995)], 0.2, ends="flush", simple_path=True, layer=10, datatype=0))  # Metal2
ref_system.add(gdstk.FlexPath([(4.46,10.81),(4.46,20)], 0.2, ends="flush", simple_path=True, layer=10, datatype=0))  # Metal2
ref_system.add(gdstk.FlexPath([(21.98,8.845),(21.98,20.005)], 0.2, ends="flush", simple_path=True, layer=10, datatype=0))  # Metal2
ref_system.add(gdstk.FlexPath([(25.36,8.845),(25.36,20)], 0.2, ends="flush", simple_path=True, layer=10, datatype=0))  # Metal2
ref_system.add(gdstk.FlexPath([(4.46,9.675),(4.46,10.81)], 0.2, ends="flush", simple_path=True, layer=10, datatype=0))  # Metal2
ref_system.add(gdstk.FlexPath([(5.355,10.79),(5.355,8.04)], 0.2, ends="flush", simple_path=True, layer=10, datatype=0))  # Metal2
ref_system.add(gdstk.FlexPath([(9.75,10.02),(9.75,14.74)], 0.2, ends="flush", simple_path=True, layer=10, datatype=0))  # Metal2
ref_system.add(gdstk.FlexPath([(12.8,17.22),(12.8,11.755)], 0.2, ends="flush", simple_path=True, layer=10, datatype=0))  # Metal2
ref_system.add(gdstk.FlexPath([(8.84,2.135),(8.84,8.695)], 0.21, ends="flush", simple_path=True, layer=10, datatype=0))  # Metal2
ref_system.add(gdstk.FlexPath([(25.36,8.85),(25.36,-0.5)], 0.21, ends="flush", simple_path=True, layer=10, datatype=0))  # Metal2
ref_system.add(gdstk.FlexPath([(1.08,8.85),(1.08,-0.5)], 0.21, ends="flush", simple_path=True, layer=10, datatype=0))  # Metal2
ref_system.add(gdstk.FlexPath([(13.22,8.85),(13.22,-0.5)], 0.21, ends="flush", simple_path=True, layer=10, datatype=0))  # Metal2
ref_system.add(gdstk.FlexPath([(8.84,1.365),(8.84,-0.5)], 0.21, ends="flush", simple_path=True, layer=10, datatype=0))  # Metal2
ref_system.add(gdstk.FlexPath([(17.6,1.365),(17.6,-0.5)], 0.21, ends="flush", simple_path=True, layer=10, datatype=0))  # Metal2
ref_system.add(gdstk.FlexPath([(8.84,8.695),(8.84,10.855)], 0.2, ends="flush", simple_path=True, layer=10, datatype=0))  # Metal2
ref_system.add(gdstk.FlexPath([(4.46,-0.35),(4.46,9.675)], 0.2, ends="flush", simple_path=True, layer=10, datatype=0))  # Metal2
ref_system.add(gdstk.FlexPath([(21.98,-0.35),(21.98,8.845)], 0.2, ends="flush", simple_path=True, layer=10, datatype=0))  # Metal2
ref_system.add(gdstk.FlexPath([(9.29,11.115),(9.29,12.43)], 0.2, ends="flush", simple_path=True, layer=10, datatype=0))  # Metal2
ref_system.add(gdstk.FlexPath([(17.7,9.55),(8.745,9.55)], 0.61, ends="flush", simple_path=True, layer=30, datatype=0))  # Metal3
ref_system.add(gdstk.FlexPath([(26.44,12.105),(0,12.105)], 1, ends="flush", simple_path=True, layer=30, datatype=0))  # Metal3
ref_system.add(gdstk.FlexPath([(0,4.455),(22.17,4.455)], 0.7, ends="flush", simple_path=True, layer=30, datatype=0))  # Metal3
ref_system.add(gdstk.FlexPath([(26.44,17.12),(13.425,17.12)], 1, ends="flush", simple_path=True, layer=30, datatype=0))  # Metal3
ref_system.add(gdstk.FlexPath([(26.44,8.39),(0,8.39)], 0.7, ends="flush", simple_path=True, layer=30, datatype=0))  # Metal3
ref_system.add(gdstk.FlexPath([(0,0),(26.44,0)], 1, ends="flush", simple_path=True, layer=30, datatype=0))  # Metal3
ref_system.add(gdstk.FlexPath([(0,20),(26.44,20)], 1, ends="flush", simple_path=True, layer=30, datatype=0))  # Metal3
ref_system.add(gdstk.FlexPath([(26.44,8.39),(0,8.39)], 0.7, ends="flush", simple_path=True, layer=30, datatype=0))  # Metal3
ref_system.add(gdstk.FlexPath([(26.44,14.74),(0,14.74)], 1, ends="flush", simple_path=True, layer=30, datatype=0))  # Metal3
ref_system.add(gdstk.FlexPath([(0.35,-0.5),(0.35,20.5)], 0.7, ends="flush", simple_path=True, layer=50, datatype=0))  # Metal4
ref_system.add(gdstk.Label('nmosHV', (6.65,3.135), layer=63, texttype=0))
ref_system.add(gdstk.Label('nmosHV', (15.41,3.135), layer=63, texttype=0))
ref_system.add(gdstk.Label('nmosHV', (6.65,5.775), layer=63, texttype=0))
ref_system.add(gdstk.Label('nmosHV', (6.65,7.665), layer=63, texttype=0))
ref_system.add(gdstk.Label('nmosHV', (6.65,1.115), layer=63, texttype=0))
ref_system.add(gdstk.Label('nmosHV', (15.41,5.775), layer=63, texttype=0))
ref_system.add(gdstk.Label('nmosHV', (9.29,10.355), layer=63, texttype=0))
ref_system.add(gdstk.Label('pmosHV', (13.675,15.815), layer=63, texttype=0))
ref_system.add(gdstk.Label('pmosHV', (12.795,15.815), layer=63, texttype=0))
ref_system.add(gdstk.Label('nmosHV', (6.65,7.665), layer=63, texttype=0))
ref_system.add(gdstk.Label('nmosHV', (4.905,10.46), layer=63, texttype=0))
ref_system.add(gdstk.Label('nmosHV', (2.77,1.115), layer=63, texttype=0))
ref_system.add(gdstk.Label('nmosHV', (2.77,7.665), layer=63, texttype=0))
ref_system.add(gdstk.Label('nmosHV', (2.77,5.775), layer=63, texttype=0))
ref_system.add(gdstk.Label('nmosHV', (2.77,3.135), layer=63, texttype=0))
ref_system.add(gdstk.Label('nmosHV', (2.77,7.665), layer=63, texttype=0))
ref_system.add(gdstk.Label('nmosHV', (23.67,7.665), layer=63, texttype=0))
ref_system.add(gdstk.Label('nmosHV', (23.67,5.775), layer=63, texttype=0))
ref_system.add(gdstk.Label('nmosHV', (23.67,7.665), layer=63, texttype=0))
ref_system.add(gdstk.Label('nmosHV', (23.67,1.115), layer=63, texttype=0))
ref_system.add(gdstk.Label('nmosHV', (23.67,3.135), layer=63, texttype=0))
ref_system.add(gdstk.Label('nmosHV', (6.65,3.135), layer=51, texttype=0))
ref_system.add(gdstk.Label('nmosHV', (11.03,3.135), layer=51, texttype=0))
ref_system.add(gdstk.Label('nmosHV', (15.41,3.135), layer=51, texttype=0))
ref_system.add(gdstk.Label('nmosHV', (19.79,3.135), layer=51, texttype=0))
ref_system.add(gdstk.Label('nmosHV', (6.65,5.775), layer=51, texttype=0))
ref_system.add(gdstk.Label('nmosHV', (11.03,5.775), layer=51, texttype=0))
ref_system.add(gdstk.Label('nmosHV', (6.65,7.665), layer=51, texttype=0))
ref_system.add(gdstk.Label('nmosHV', (11.03,7.665), layer=51, texttype=0))
ref_system.add(gdstk.Label('nmosHV', (15.41,7.665), layer=51, texttype=0))
ref_system.add(gdstk.Label('nmosHV', (19.79,7.665), layer=51, texttype=0))
ref_system.add(gdstk.Label('nmosHV', (6.65,1.115), layer=51, texttype=0))
ref_system.add(gdstk.Label('nmosHV', (11.03,1.115), layer=51, texttype=0))
ref_system.add(gdstk.Label('nmosHV', (15.41,1.115), layer=51, texttype=0))
ref_system.add(gdstk.Label('nmosHV', (19.79,1.115), layer=51, texttype=0))
ref_system.add(gdstk.Label('nmosHV', (15.41,5.775), layer=51, texttype=0))
ref_system.add(gdstk.Label('nmosHV', (19.79,5.775), layer=51, texttype=0))
ref_system.add(gdstk.Label('nmosHV', (9.29,10.355), layer=51, texttype=0))
ref_system.add(gdstk.Label('pmos', (13.675,15.815), layer=51, texttype=0))
ref_system.add(gdstk.Label('pmos', (12.795,15.815), layer=51, texttype=0))
ref_system.add(gdstk.Label('nmosHV', (6.65,7.665), layer=51, texttype=0))
ref_system.add(gdstk.Label('nmosHV', (11.03,7.665), layer=51, texttype=0))
ref_system.add(gdstk.Label('nmosHV', (15.41,7.665), layer=51, texttype=0))
ref_system.add(gdstk.Label('nmosHV', (19.79,7.665), layer=51, texttype=0))
ref_system.add(gdstk.Label('nmosHV', (4.905,10.46), layer=51, texttype=0))
ref_system.add(gdstk.Label('nmosHV', (2.77,1.115), layer=51, texttype=0))
ref_system.add(gdstk.Label('nmosHV', (2.77,7.665), layer=51, texttype=0))
ref_system.add(gdstk.Label('nmosHV', (2.77,5.775), layer=51, texttype=0))
ref_system.add(gdstk.Label('nmosHV', (2.77,3.135), layer=51, texttype=0))
ref_system.add(gdstk.Label('nmosHV', (2.77,7.665), layer=51, texttype=0))
ref_system.add(gdstk.Label('nmosHV', (23.67,7.665), layer=51, texttype=0))
ref_system.add(gdstk.Label('nmosHV', (23.67,5.775), layer=51, texttype=0))
ref_system.add(gdstk.Label('nmosHV', (23.67,7.665), layer=51, texttype=0))
ref_system.add(gdstk.Label('nmosHV', (23.67,1.115), layer=51, texttype=0))
ref_system.add(gdstk.Label('nmosHV', (23.67,3.135), layer=51, texttype=0))
ref_system.add(gdstk.Label('ack_VABI', (25.94,17.12), layer=30, texttype=25))
ref_system.add(gdstk.Label('capabias_VPN', (25.94,14.74), layer=30, texttype=25))
ref_system.add(gdstk.Label('vssa', (0.035,0), layer=30, texttype=25))
ref_system.add(gdstk.Label('mem_VNO', (0.35,8.39), layer=30, texttype=25))
ref_system.add(gdstk.Label('req_VABI', (0.5,12.105), layer=30, texttype=25))
ref_system.add(gdstk.Label('vdda', (0.035,20), layer=30, texttype=25))
ref_system.add(gdstk.Label('lk_VPI', (0.345,20.15), layer=50, texttype=25))

lib.write_gds('REF_system.gds')
